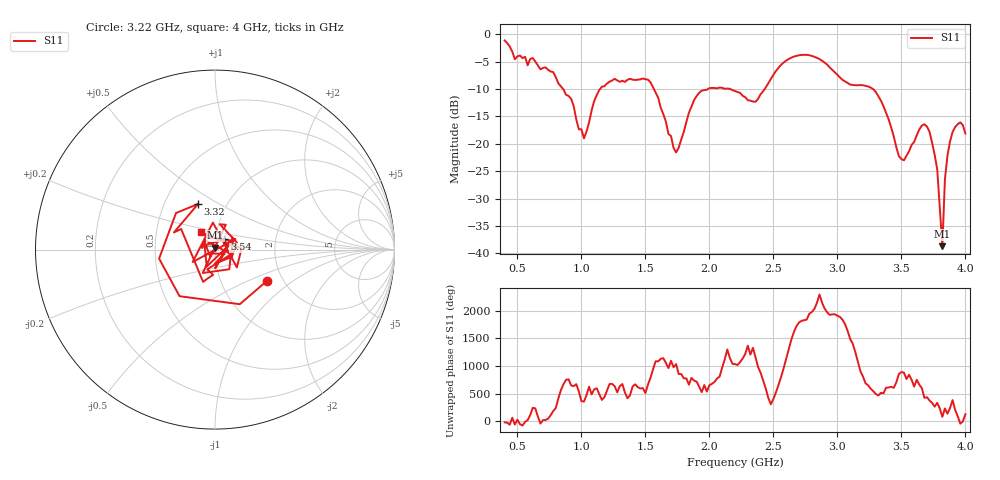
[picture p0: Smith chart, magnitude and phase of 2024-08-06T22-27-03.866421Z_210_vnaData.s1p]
!Created with skrf (http://scikit-rf.org).
# Hz S RI R 50.0
!freq ReS11 ImS11
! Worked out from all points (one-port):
!   181 points, 400 MHz to 4 GHz, reference 50 ohm
!   lowest |S11| = -38.7 dB at 3.82 GHz (marker M1), VSWR 1.02, Z = 50.1 + j1.16 ohm
!   |S11| at or under -10 dB: 857.9 MHz to 1.146 GHz (287.6 MHz wide, 28.7 % of centre); 1.567 GHz to 1.988 GHz (421.8 MHz wide, 23.7 % of centre); 3.279 GHz to end of sweep (the widest 3 of 4)
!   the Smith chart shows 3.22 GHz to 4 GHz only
!   S11 on the Smith chart (normalised r, x): 3.22 GHz: 1.66, -0.65; 3.32 GHz: 0.73, +0.40; 3.54 GHz: 1.10, +0.13; 4 GHz: 0.84, +0.16
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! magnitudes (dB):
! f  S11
! 400 MHz  -1.1
! 480 MHz  -4.6
! 620 MHz  -4.3
! 860 MHz  -10.1
! 1.02 GHz  -19.0
! 1.14 GHz  -10.2
! 1.3 GHz  -8.7
! 1.54 GHz  -8.8
! 1.72 GHz  -20.7
! 1.76 GHz  -20.7
! 1.92 GHz  -10.7
! 2.2 GHz  -10.4
! 2.36 GHz  -12.3
! 2.66 GHz  -4.1
! 3.1 GHz  -9.2
! 3.22 GHz  -9.4
! 3.32 GHz  -11.3
! 3.48 GHz  -22.2
! 3.54 GHz  -22.2
! 3.56 GHz  -21.3
! 3.66 GHz  -16.6
! 3.72 GHz  -17.8
! 3.78 GHz  -24.7
! 3.82 GHz  -38.7
! 3.84 GHz  -26.5
! 3.88 GHz  -19.6
! 3.96 GHz  -16.1
! 4 GHz  -18.1
